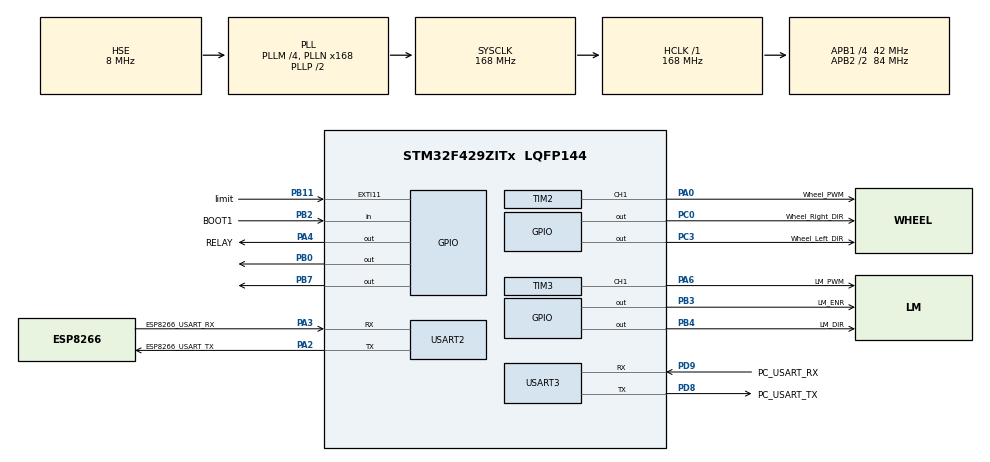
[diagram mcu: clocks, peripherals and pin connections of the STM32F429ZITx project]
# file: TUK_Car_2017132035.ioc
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Mcu.Family=STM32F4
Mcu.Name=STM32F429ZITx
Mcu.Package=LQFP144
NVIC.EXTI15_10_IRQn=true\:0\:0\:false\:false\:true\:true\:true
NVIC.PriorityGroup=NVIC_PRIORITYGROUP_4
NVIC.TIM3_IRQn=true\:0\:0\:false\:false\:true\:true\:true
NVIC.TIM6_DAC_IRQn=true\:0\:0\:false\:false\:true\:true\:true
NVIC.USART2_IRQn=true\:0\:0\:false\:false\:true\:true\:true
NVIC.USART3_IRQn=true\:0\:0\:false\:false\:true\:true\:true
PA0/WKUP.GPIO_Label=Wheel_PWM
PA0/WKUP.Signal=S_TIM2_CH1_ETR
PA13.Mode=Serial_Wire
PA13.Signal=SYS_JTMS-SWDIO
PA14.Mode=Serial_Wire
PA14.Signal=SYS_JTCK-SWCLK
PA2.GPIO_Label=ESP8266_USART_TX
PA2.Mode=Asynchronous
PA2.Signal=USART2_TX
PA3.GPIO_Label=ESP8266_USART_RX
PA3.Mode=Asynchronous
PA3.Signal=USART2_RX
PA4.GPIO_Label=RELAY
PA4.GPIO_Speed=GPIO_SPEED_FREQ_VERY_HIGH
PA4.PinState=GPIO_PIN_SET
PA4.Signal=GPIO_Output
PA6.GPIO_Label=LM_PWM
PA6.Signal=S_TIM3_CH1
PB0.GPIO_Speed=GPIO_SPEED_FREQ_VERY_HIGH
PB0.Signal=GPIO_Output
PB11.GPIO_Label=limit
PB11.Signal=GPXTI11
PB2/BOOT1.GPIO_Label=BOOT1
PB2/BOOT1.Signal=GPIO_Input
PB3.GPIO_Label=LM_ENR
PB3.GPIO_Speed=GPIO_SPEED_FREQ_VERY_HIGH
PB3.Signal=GPIO_Output
PB4.GPIO_Label=LM_DIR
PB4.GPIO_Speed=GPIO_SPEED_FREQ_VERY_HIGH
PB4.Signal=GPIO_Output
PB7.Signal=GPIO_Output
PC0.GPIO_Label=Wheel_Right_DIR
PC0.Signal=GPIO_Output
PC3.GPIO_Label=Wheel_Left_DIR
PC3.Signal=GPIO_Output
PD8.GPIO_Label=PC_USART_TX
PD8.Mode=Asynchronous
PD8.Signal=USART3_TX
PD9.GPIO_Label=PC_USART_RX
PD9.Mode=Asynchronous
PD9.Signal=USART3_RX
PH0/OSC_IN.Mode=HSE-External-Clock-Source
PH0/OSC_IN.Signal=RCC_OSC_IN
PH1/OSC_OUT.Mode=HSE-External-Clock-Source
PH1/OSC_OUT.Signal=RCC_OSC_OUT
ProjectManager.HeapSize=0x200
ProjectManager.StackSize=0x400
ProjectManager.TargetToolchain=STM32CubeIDE
RCC.48MHZClocksFreq_Value=84000000
RCC.AHBFreq_Value=168000000
RCC.APB1CLKDivider=RCC_HCLK_DIV4
RCC.APB1Freq_Value=42000000
RCC.APB1TimFreq_Value=84000000
RCC.APB2CLKDivider=RCC_HCLK_DIV2
RCC.APB2Freq_Value=84000000
RCC.APB2TimFreq_Value=168000000
RCC.CortexFreq_Value=168000000
RCC.HCLKFreq_Value=168000000
RCC.HSE_VALUE=8000000
RCC.HSI_VALUE=16000000
RCC.LSE_VALUE=32768
RCC.PLLM=4
RCC.PLLN=168
RCC.PLLSourceVirtual=RCC_PLLSOURCE_HSE
RCC.SYSCLKFreq_VALUE=168000000
RCC.SYSCLKSource=RCC_SYSCLKSOURCE_PLLCLK
RCC.VCOOutputFreq_Value=336000000
SH.S_TIM2_CH1_ETR.0=TIM2_CH1,PWM Generation1 CH1
SH.S_TIM3_CH1.0=TIM3_CH1,PWM Generation1 CH1
TIM2.Channel-PWM\ Generation1\ CH1=TIM_CHANNEL_1
TIM2.Period=10000-1
TIM2.Prescaler=84-1
TIM2.Pulse-PWM\ Generation1\ CH1=5000
TIM3.Channel-PWM\ Generation1\ CH1=TIM_CHANNEL_1
TIM3.Period=250-1
TIM3.Prescaler=84-1
TIM3.Pulse-PWM\ Generation1\ CH1=125-1
TIM6.Period=10-1
TIM6.Prescaler=8400-1
USART2.VirtualMode=VM_ASYNC
USART3.VirtualMode=VM_ASYNC
VP_TIM2_VS_ClockSourceINT.Mode=Internal
VP_TIM3_VS_ClockSourceINT.Mode=Internal
VP_TIM6_VS_ClockSourceINT.Mode=Enable_Timer
board=custom

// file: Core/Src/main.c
/* USER CODE BEGIN Header */
/**
 ******************************************************************************
 * @file           : main.c
 * @brief          : Main program body
 ******************************************************************************
 * @attention
 *
 * Copyright (c) 2022 STMicroelectronics.
 * All rights reserved.
 *
 * This software is licensed under terms that can be found in the LICENSE file
 * in the root directory of this software component.
 * If no LICENSE file comes with this software, it is provided AS-IS.
 *
 ******************************************************************************
 */

/*

Major : Mechatronics Engineering
Author: In-Hwan Jeong( 정인환 )
Reference : https://controllerstech.com/의 ESP8266_HAL.c, UartRingbuffer_multi.c

*/

/* USER CODE END Header */
#include "main.h"

/* USER CODE BEGIN Includes */
#include "ESP8266_HAL.h"
#include "UartRingbuffer_multi.h"
/* USER CODE END Includes */

/* USER CODE BEGIN PD */
#define LM_ENA_Yes 0
#define LM_ENA_No 1
#define Wheel_Right_Go 1
#define Wheel_Right_Back 0
#define Wheel_Left_Go 1
#define Wheel_Left_Back 0
#define Car_Go 1
#define Car_Back 0
#define Lockeroncall 1
#define Lockeron 2
#define Lockeroffcall 3
#define Lockeroff 4
#define Relay_ON 1
#define Relay_OFF 2
#define wifi_uart &huart2
#define pc_uart &huart3

#define LM_extra 20 //mm
#define LM_extra2 10//mm

#define duty 3000
/* USER CODE END PD */

TIM_HandleTypeDef htim2;
TIM_HandleTypeDef htim3;
TIM_HandleTypeDef htim6;

UART_HandleTypeDef huart2;
UART_HandleTypeDef huart3;

/* USER CODE BEGIN PV */
int i=0;
unsigned int LM_Guide_Step=0; // pwm on time
unsigned int Limit_Cnt=0;
unsigned int LM_Position=0; // (motor) 0mm ~ (max) 320mm
unsigned char Locker_Move_Flag=0;
unsigned char Locker_Flag[2][4]={0};
unsigned char Locker[2][4]={0};
unsigned char Locker_Floor=0;
unsigned char Elevator_Floor=0;
unsigned char Limit_Flag=0;
int Car_Time=1;
int Locker_Distance[2][4]={{2643,3786,2643,3786},{2643,3786,2643,3786}};
/* USER CODE END PV */

void SystemClock_Config(void);
static void MX_GPIO_Init(void);
static void MX_TIM2_Init(void);
static void MX_TIM3_Init(void);
static void MX_USART3_UART_Init(void);
static void MX_TIM6_Init(void);
static void MX_USART2_UART_Init(void);

/* USER CODE BEGIN 0 */

void LM_Guide_ENA(int ena);
void LM_Guide_DIR(int dir);
void LM_Guide_Move(int LM_Position_Goal,int Magnet);
void Wheel_DIR(int dir);
void TUK_Locker_Car_Move(int Car_Move_Delay,int Speed, int Car_DIR);
void TUK_Locker_Car_Move_Delay(int Car_Move_Delay,int Speed, int Car_DIR,int Car_Stop);
void Elevator(int floor);

/* USER CODE END 0 */

int main(void)
{

	/* MCU Configuration--------------------------------------------------------*/

	/* Reset of all peripherals, Initializes the Flash interface and the Systick. */
	HAL_Init();

	/* Configure the system clock */
	SystemClock_Config();

	/* Initialize all configured peripherals */
	MX_GPIO_Init();
	MX_TIM2_Init();
	MX_TIM3_Init();
	MX_USART3_UART_Init();
	MX_TIM6_Init();
	MX_USART2_UART_Init();
	/* USER CODE BEGIN 2 */
	HAL_TIM_Base_Start_IT(&htim6);

	ESP_Init("CIR_Wireless","cir123456!");
	HAL_GPIO_WritePin(RELAY_GPIO_Port, RELAY_Pin, 0);

	/* USER CODE END 2 */

	/* Infinite loop */
	/* USER CODE BEGIN WHILE */

	while (1)
	{
		Server_Start();
		if(Locker_Move_Flag >4)
		{
			Locker_Floor = 1;
		}
		else
		{
			Locker_Floor = 0;
		}

		if(Locker_Move_Flag>=1)
		{
			if( Locker_Move_Flag == 1 || Locker_Move_Flag == 2 || Locker_Move_Flag == 5  || Locker_Move_Flag == 6 )//
			{

				if(Locker_Flag[Locker_Floor][(Locker_Move_Flag-1)%4]==Lockeroncall)
				{
					if(Locker[Locker_Floor][(Locker_Move_Flag-1)%4]==0)
					{
						if(Locker_Floor==1 && Elevator_Floor==0)
						{
							Elevator(2);
							Elevator_Floor=1;
						}
						LM_Guide_Move(LM_extra,0);
						TUK_Locker_Car_Move_Delay(Locker_Distance[Locker_Floor][(Locker_Move_Flag-1)%4],duty,Car_Go,3800);
						LM_Guide_Move(320,Relay_ON);
						HAL_Delay(500);
						LM_Guide_Move(LM_extra,0);
						TUK_Locker_Car_Move_Delay(Locker_Distance[Locker_Floor][(Locker_Move_Flag-1)%4],duty,Car_Back,3800);

						Locker[Locker_Floor][(Locker_Move_Flag-1)%4]=1;
					}
					Locker_Flag[Locker_Floor][(Locker_Move_Flag-1)%4]=0;

					if(Elevator_Floor==1)
					{
						Elevator(1);
						Elevator_Floor=0;
					}
				}
				else if(Locker_Flag[Locker_Floor][(Locker_Move_Flag-1)%4]==Lockeron)
				{
					if(Locker[Locker_Floor][(Locker_Move_Flag-1)%4]==1)
					{
						if(Locker_Floor==1 && Elevator_Floor==0)
						{
							Elevator(2);
							Elevator_Floor=1;
						}
						TUK_Locker_Car_Move_Delay(Locker_Distance[Locker_Floor][(Locker_Move_Flag-1)%4],duty,Car_Go,3800);
						LM_Guide_Move(320-LM_extra2,Relay_OFF);
						LM_Guide_Move(LM_extra,0);
						TUK_Locker_Car_Move_Delay(Locker_Distance[Locker_Floor][(Locker_Move_Flag-1)%4],duty,Car_Back,3800);
						LM_Guide_Move(0,0);

						Locker[Locker_Floor][(Locker_Move_Flag-1)%4]=2;
					}
					Locker_Flag[Locker_Floor][(Locker_Move_Flag-1)%4]=0;

					if(Elevator_Floor==1)
					{
						Elevator(1);
						Elevator_Floor=0;
					}

				}
				else if(Locker_Flag[Locker_Floor][(Locker_Move_Flag-1)%4]==Lockeroffcall)
				{
					if(Locker[Locker_Floor][(Locker_Move_Flag-1)%4]==2)
					{
						if(Locker_Floor==1 && Elevator_Floor==0)
						{
							Elevator(2);
							Elevator_Floor=1;
						}
						LM_Guide_Move(LM_extra,0);
						TUK_Locker_Car_Move_Delay(Locker_Distance[Locker_Floor][(Locker_Move_Flag-1)%4],duty,Car_Go,3800);
						LM_Guide_Move(320,Relay_ON);
						HAL_Delay(500);
						LM_Guide_Move(LM_extra,0);
						TUK_Locker_Car_Move_Delay(Locker_Distance[Locker_Floor][(Locker_Move_Flag-1)%4],duty,Car_Back,3800);

						Locker[Locker_Floor][(Locker_Move_Flag-1)%4]=3;
					}
					Locker_Flag[Locker_Floor][(Locker_Move_Flag-1)%4]=0;

					if(Elevator_Floor==1)
					{
						Elevator(1);
						Elevator_Floor=0;
					}
				}
				else if(Locker_Flag[Locker_Floor][(Locker_Move_Flag-1)%4]==Lockeroff)
				{
					if(Locker[Locker_Floor][(Locker_Move_Flag-1)%4]==3)
					{
						if(Locker_Floor==1 && Elevator_Floor==0)
						{
							Elevator(2);
							Elevator_Floor=1;
						}
						TUK_Locker_Car_Move_Delay(Locker_Distance[Locker_Floor][(Locker_Move_Flag-1)%4],duty,Car_Go,3800);
						LM_Guide_Move(320-LM_extra2,Relay_OFF);
						LM_Guide_Move(LM_extra,0);
						TUK_Locker_Car_Move_Delay(Locker_Distance[Locker_Floor][(Locker_Move_Flag-1)%4],duty,Car_Back,3800);
						LM_Guide_Move(0,0);

						Locker[Locker_Floor][(Locker_Move_Flag-1)%4]=0;
					}
					Locker_Flag[Locker_Floor][(Locker_Move_Flag-1)%4]=0;

					if(Elevator_Floor==1)
					{
						Elevator(1);
						Elevator_Floor=0;
					}

				}

				Locker_Move_Flag=0;
			}
			else if( Locker_Move_Flag == 3 || Locker_Move_Flag == 4 || Locker_Move_Flag == 7  || Locker_Move_Flag == 8)//
			{

				if(Locker_Flag[Locker_Floor][(Locker_Move_Flag-1)%4]==Lockeroncall)
				{
					if(Locker[Locker_Floor][(Locker_Move_Flag-1)%4]==0)
					{
						if(Locker_Floor==1 && Elevator_Floor==0)
						{
							Elevator(2);
							Elevator_Floor=1;
						}
						LM_Guide_Move(LM_extra,0);
						TUK_Locker_Car_Move_Delay(Locker_Distance[Locker_Floor][(Locker_Move_Flag-1)%4],duty,Car_Go,3800);
						HAL_GPIO_WritePin(RELAY_GPIO_Port, RELAY_Pin, 1);
						LM_Guide_Move(0,0);
						HAL_Delay(500);
						LM_Guide_Move(320-LM_extra,0);
						TUK_Locker_Car_Move_Delay(Locker_Distance[Locker_Floor][(Locker_Move_Flag-1)%4],duty,Car_Back,3800);

						Locker[Locker_Floor][(Locker_Move_Flag-1)%4]=1;
					}
					Locker_Flag[Locker_Floor][(Locker_Move_Flag-1)%4]=0;

					if(Elevator_Floor==1)
					{
						Elevator(1);
						Elevator_Floor=0;
					}
				}
				else if(Locker_Flag[Locker_Floor][(Locker_Move_Flag-1)%4]==Lockeron)
				{
					if(Locker[Locker_Floor][(Locker_Move_Flag-1)%4]==1)
					{
						if(Locker_Floor==1 && Elevator_Floor==0)
						{
							Elevator(2);
							Elevator_Floor=1;
						}
						TUK_Locker_Car_Move_Delay(Locker_Distance[Locker_Floor][(Locker_Move_Flag-1)%4],duty,Car_Go,3800);
						LM_Guide_Move(LM_extra2,Relay_OFF);
						LM_Guide_Move(LM_extra,0);
						TUK_Locker_Car_Move_Delay(Locker_Distance[Locker_Floor][(Locker_Move_Flag-1)%4],duty,Car_Back,3800);
						LM_Guide_Move(0,0);

						Locker[Locker_Floor][(Locker_Move_Flag-1)%4]=2;
					}
					Locker_Flag[Locker_Floor][(Locker_Move_Flag-1)%4]=0;

					if(Elevator_Floor==1)
					{
						Elevator(1);
						Elevator_Floor=0;
					}

				}
				else if(Locker_Flag[Locker_Floor][(Locker_Move_Flag-1)%4]==Lockeroffcall)
				{
					if(Locker[Locker_Floor][(Locker_Move_Flag-1)%4]==2)
					{
						if(Locker_Floor==1 && Elevator_Floor==0)
						{
							Elevator(2);
							Elevator_Floor=1;
						}
						LM_Guide_Move(LM_extra,0);
						TUK_Locker_Car_Move_Delay(Locker_Distance[Locker_Floor][(Locker_Move_Flag-1)%4],duty,Car_Go,3800);
						HAL_GPIO_WritePin(RELAY_GPIO_Port, RELAY_Pin, 1);
						LM_Guide_Move(0,0);
						HAL_Delay(500);
						LM_Guide_Move(320-LM_extra,0);
						TUK_Locker_Car_Move_Delay(Locker_Distance[Locker_Floor][(Locker_Move_Flag-1)%4],duty,Car_Back,3800);

						Locker[Locker_Floor][(Locker_Move_Flag-1)%4]=3;
					}
					Locker_Flag[Locker_Floor][(Locker_Move_Flag-1)%4]=0;

					if(Elevator_Floor==1)
					{
						Elevator(1);
						Elevator_Floor=0;
					}
				}
				else if(Locker_Flag[Locker_Floor][(Locker_Move_Flag-1)%4]==Lockeroff)
				{
					if(Locker[Locker_Floor][(Locker_Move_Flag-1)%4]==3)
					{
						if(Locker_Floor==1 && Elevator_Floor==0)
						{
							Elevator(2);
							Elevator_Floor=1;
						}
						TUK_Locker_Car_Move_Delay(Locker_Distance[Locker_Floor][(Locker_Move_Flag-1)%4],duty,Car_Go,3800);
						LM_Guide_Move(LM_extra2,Relay_OFF);
						LM_Guide_Move(LM_extra,0);
						TUK_Locker_Car_Move_Delay(Locker_Distance[Locker_Floor][(Locker_Move_Flag-1)%4],duty,Car_Back,3800);
						LM_Guide_Move(0,0);

						Locker[Locker_Floor][(Locker_Move_Flag-1)%4]=0;
					}
					Locker_Flag[Locker_Floor][(Locker_Move_Flag-1)%4]=0;

					if(Elevator_Floor==1)
					{
						Elevator(1);
						Elevator_Floor=0;
					}
				}

				Locker_Move_Flag=0;
			}
		}

	}
	/* USER CODE END WHILE */

}

void SystemClock_Config(void)
{
	RCC_OscInitTypeDef RCC_OscInitStruct = {0};
	RCC_ClkInitTypeDef RCC_ClkInitStruct = {0};

	/** Configure the main internal regulator output voltage
	 */
	__HAL_RCC_PWR_CLK_ENABLE();
	__HAL_PWR_VOLTAGESCALING_CONFIG(PWR_REGULATOR_VOLTAGE_SCALE1);
	/** Initializes the RCC Oscillators according to the specified parameters
	 * in the RCC_OscInitTypeDef structure.
	 */
	RCC_OscInitStruct.OscillatorType = RCC_OSCILLATORTYPE_HSE;
	RCC_OscInitStruct.HSEState = RCC_HSE_BYPASS;
	RCC_OscInitStruct.PLL.PLLState = RCC_PLL_ON;
	RCC_OscInitStruct.PLL.PLLSource = RCC_PLLSOURCE_HSE;
	RCC_OscInitStruct.PLL.PLLM = 4;
	RCC_OscInitStruct.PLL.PLLN = 168;
	RCC_OscInitStruct.PLL.PLLP = RCC_PLLP_DIV2;
	RCC_OscInitStruct.PLL.PLLQ = 4;
	if (HAL_RCC_OscConfig(&RCC_OscInitStruct) != HAL_OK)
	{
		Error_Handler();
	}
	/** Initializes the CPU, AHB and APB buses clocks
	 */
	RCC_ClkInitStruct.ClockType = RCC_CLOCKTYPE_HCLK|RCC_CLOCKTYPE_SYSCLK
			|RCC_CLOCKTYPE_PCLK1|RCC_CLOCKTYPE_PCLK2;
	RCC_ClkInitStruct.SYSCLKSource = RCC_SYSCLKSOURCE_PLLCLK;
	RCC_ClkInitStruct.AHBCLKDivider = RCC_SYSCLK_DIV1;
	RCC_ClkInitStruct.APB1CLKDivider = RCC_HCLK_DIV4;
	RCC_ClkInitStruct.APB2CLKDivider = RCC_HCLK_DIV2;

	if (HAL_RCC_ClockConfig(&RCC_ClkInitStruct, FLASH_LATENCY_5) != HAL_OK)
	{
		Error_Handler();
	}
}

static void MX_TIM2_Init(void)
{

	TIM_ClockConfigTypeDef sClockSourceConfig = {0};
	TIM_MasterConfigTypeDef sMasterConfig = {0};
	TIM_OC_InitTypeDef sConfigOC = {0};

	htim2.Instance = TIM2;
	htim2.Init.Prescaler = 84-1;
	htim2.Init.CounterMode = TIM_COUNTERMODE_UP;
	htim2.Init.Period = 10000-1;
	htim2.Init.ClockDivision = TIM_CLOCKDIVISION_DIV1;
	htim2.Init.AutoReloadPreload = TIM_AUTORELOAD_PRELOAD_DISABLE;
	if (HAL_TIM_Base_Init(&htim2) != HAL_OK)
	{
		Error_Handler();
	}
	sClockSourceConfig.ClockSource = TIM_CLOCKSOURCE_INTERNAL;
	if (HAL_TIM_ConfigClockSource(&htim2, &sClockSourceConfig) != HAL_OK)
	{
		Error_Handler();
	}
	if (HAL_TIM_PWM_Init(&htim2) != HAL_OK)
	{
		Error_Handler();
	}
	sMasterConfig.MasterOutputTrigger = TIM_TRGO_RESET;
	sMasterConfig.MasterSlaveMode = TIM_MASTERSLAVEMODE_DISABLE;
	if (HAL_TIMEx_MasterConfigSynchronization(&htim2, &sMasterConfig) != HAL_OK)
	{
		Error_Handler();
	}
	sConfigOC.OCMode = TIM_OCMODE_PWM1;
	sConfigOC.Pulse = 5000;
	sConfigOC.OCPolarity = TIM_OCPOLARITY_HIGH;
	sConfigOC.OCFastMode = TIM_OCFAST_DISABLE;
	if (HAL_TIM_PWM_ConfigChannel(&htim2, &sConfigOC, TIM_CHANNEL_1) != HAL_OK)
	{
		Error_Handler();
	}
	HAL_TIM_MspPostInit(&htim2);

}

static void MX_TIM3_Init(void)
{

	TIM_ClockConfigTypeDef sClockSourceConfig = {0};
	TIM_MasterConfigTypeDef sMasterConfig = {0};
	TIM_OC_InitTypeDef sConfigOC = {0};

	htim3.Instance = TIM3;
	htim3.Init.Prescaler = 84-1;
	htim3.Init.CounterMode = TIM_COUNTERMODE_UP;
	htim3.Init.Period = 250-1;
	htim3.Init.ClockDivision = TIM_CLOCKDIVISION_DIV1;
	htim3.Init.AutoReloadPreload = TIM_AUTORELOAD_PRELOAD_DISABLE;
	if (HAL_TIM_Base_Init(&htim3) != HAL_OK)
	{
		Error_Handler();
	}
	sClockSourceConfig.ClockSource = TIM_CLOCKSOURCE_INTERNAL;
	if (HAL_TIM_ConfigClockSource(&htim3, &sClockSourceConfig) != HAL_OK)
	{
		Error_Handler();
	}
	if (HAL_TIM_PWM_Init(&htim3) != HAL_OK)
	{
		Error_Handler();
	}
	sMasterConfig.MasterOutputTrigger = TIM_TRGO_RESET;
	sMasterConfig.MasterSlaveMode = TIM_MASTERSLAVEMODE_DISABLE;
	if (HAL_TIMEx_MasterConfigSynchronization(&htim3, &sMasterConfig) != HAL_OK)
	{
		Error_Handler();
	}
	sConfigOC.OCMode = TIM_OCMODE_PWM1;
	sConfigOC.Pulse = 125-1;
	sConfigOC.OCPolarity = TIM_OCPOLARITY_HIGH;
	sConfigOC.OCFastMode = TIM_OCFAST_DISABLE;
	if (HAL_TIM_PWM_ConfigChannel(&htim3, &sConfigOC, TIM_CHANNEL_1) != HAL_OK)
	{
		Error_Handler();
	}
	HAL_TIM_MspPostInit(&htim3);

}

static void MX_TIM6_Init(void)
{

	TIM_MasterConfigTypeDef sMasterConfig = {0};

	htim6.Instance = TIM6;
	htim6.Init.Prescaler = 8400-1;
	htim6.Init.CounterMode = TIM_COUNTERMODE_UP;
	htim6.Init.Period = 10-1;
	htim6.Init.AutoReloadPreload = TIM_AUTORELOAD_PRELOAD_DISABLE;
	if (HAL_TIM_Base_Init(&htim6) != HAL_OK)
	{
		Error_Handler();
	}
	sMasterConfig.MasterOutputTrigger = TIM_TRGO_RESET;
	sMasterConfig.MasterSlaveMode = TIM_MASTERSLAVEMODE_DISABLE;
	if (HAL_TIMEx_MasterConfigSynchronization(&htim6, &sMasterConfig) != HAL_OK)
	{
		Error_Handler();
	}

}

static void MX_USART2_UART_Init(void)
{

	huart2.Instance = USART2;
	huart2.Init.BaudRate = 115200;
	huart2.Init.WordLength = UART_WORDLENGTH_8B;
	huart2.Init.StopBits = UART_STOPBITS_1;
	huart2.Init.Parity = UART_PARITY_NONE;
	huart2.Init.Mode = UART_MODE_TX_RX;
	huart2.Init.HwFlowCtl = UART_HWCONTROL_NONE;
	huart2.Init.OverSampling = UART_OVERSAMPLING_16;
	if (HAL_UART_Init(&huart2) != HAL_OK)
	{
		Error_Handler();
	}

}

static void MX_USART3_UART_Init(void)
{

	huart3.Instance = USART3;
	huart3.Init.BaudRate = 115200;
	huart3.Init.WordLength = UART_WORDLENGTH_8B;
	huart3.Init.StopBits = UART_STOPBITS_1;
	huart3.Init.Parity = UART_PARITY_NONE;
	huart3.Init.Mode = UART_MODE_TX_RX;
	huart3.Init.HwFlowCtl = UART_HWCONTROL_NONE;
	huart3.Init.OverSampling = UART_OVERSAMPLING_16;
	if (HAL_UART_Init(&huart3) != HAL_OK)
	{
		Error_Handler();
	}

}

static void MX_GPIO_Init(void)
{
	GPIO_InitTypeDef GPIO_InitStruct = {0};

	/* GPIO Ports Clock Enable */
	__HAL_RCC_GPIOH_CLK_ENABLE();
	__HAL_RCC_GPIOC_CLK_ENABLE();
	__HAL_RCC_GPIOA_CLK_ENABLE();
	__HAL_RCC_GPIOB_CLK_ENABLE();
	__HAL_RCC_GPIOD_CLK_ENABLE();

	/*Configure GPIO pin Output Level */
	HAL_GPIO_WritePin(GPIOC, Wheel_Right_DIR_Pin|Wheel_Left_DIR_Pin, GPIO_PIN_RESET);

	/*Configure GPIO pin Output Level */
	HAL_GPIO_WritePin(RELAY_GPIO_Port, RELAY_Pin, GPIO_PIN_SET);

	/*Configure GPIO pin Output Level */
	HAL_GPIO_WritePin(GPIOB, GPIO_PIN_0|LM_ENR_Pin|LM_DIR_Pin|GPIO_PIN_7, GPIO_PIN_RESET);

	/*Configure GPIO pins : Wheel_Right_DIR_Pin Wheel_Left_DIR_Pin */
	GPIO_InitStruct.Pin = Wheel_Right_DIR_Pin|Wheel_Left_DIR_Pin;
	GPIO_InitStruct.Mode = GPIO_MODE_OUTPUT_PP;
	GPIO_InitStruct.Pull = GPIO_NOPULL;
	GPIO_InitStruct.Speed = GPIO_SPEED_FREQ_LOW;
	HAL_GPIO_Init(GPIOC, &GPIO_InitStruct);

	/*Configure GPIO pin : RELAY_Pin */
	GPIO_InitStruct.Pin = RELAY_Pin;
	GPIO_InitStruct.Mode = GPIO_MODE_OUTPUT_PP;
	GPIO_InitStruct.Pull = GPIO_NOPULL;
	GPIO_InitStruct.Speed = GPIO_SPEED_FREQ_VERY_HIGH;
	HAL_GPIO_Init(RELAY_GPIO_Port, &GPIO_InitStruct);

	/*Configure GPIO pins : PB0 LM_ENR_Pin LM_DIR_Pin */
	GPIO_InitStruct.Pin = GPIO_PIN_0|LM_ENR_Pin|LM_DIR_Pin;
	GPIO_InitStruct.Mode = GPIO_MODE_OUTPUT_PP;
	GPIO_InitStruct.Pull = GPIO_NOPULL;
	GPIO_InitStruct.Speed = GPIO_SPEED_FREQ_VERY_HIGH;
	HAL_GPIO_Init(GPIOB, &GPIO_InitStruct);

	/*Configure GPIO pin : BOOT1_Pin */
	GPIO_InitStruct.Pin = BOOT1_Pin;
	GPIO_InitStruct.Mode = GPIO_MODE_INPUT;
	GPIO_InitStruct.Pull = GPIO_NOPULL;
	HAL_GPIO_Init(BOOT1_GPIO_Port, &GPIO_InitStruct);

	/*Configure GPIO pin : limit_Pin */
	GPIO_InitStruct.Pin = limit_Pin;
	GPIO_InitStruct.Mode = GPIO_MODE_IT_RISING;
	GPIO_InitStruct.Pull = GPIO_NOPULL;
	HAL_GPIO_Init(limit_GPIO_Port, &GPIO_InitStruct);

	/*Configure GPIO pin : PB7 */
	GPIO_InitStruct.Pin = GPIO_PIN_7;
	GPIO_InitStruct.Mode = GPIO_MODE_OUTPUT_PP;
	GPIO_InitStruct.Pull = GPIO_NOPULL;
	GPIO_InitStruct.Speed = GPIO_SPEED_FREQ_LOW;
	HAL_GPIO_Init(GPIOB, &GPIO_InitStruct);

	/* EXTI interrupt init*/
	HAL_NVIC_SetPriority(EXTI15_10_IRQn, 0, 0);
	HAL_NVIC_EnableIRQ(EXTI15_10_IRQn);

}

/* USER CODE BEGIN 4 */
void HAL_GPIO_EXTI_Callback(uint16_t GPIO_Pin)
{
	if(GPIO_Pin==limit_Pin)
	{
		if(Limit_Cnt==0)
			HAL_TIM_PWM_Stop(&htim2, TIM_CHANNEL_1);
		HAL_GPIO_TogglePin(GPIOB, GPIO_PIN_0 | GPIO_PIN_7);
	}
}
void LM_Guide_ENA(int ena)
{
	if(ena)
		HAL_GPIO_WritePin(LM_ENR_GPIO_Port, LM_ENR_Pin, LM_ENA_Yes);
	else if(ena==0)
		HAL_GPIO_WritePin(LM_ENR_GPIO_Port, LM_ENR_Pin, LM_ENA_No);
}

void LM_Guide_DIR(int dir)
{
	if(dir)
		HAL_GPIO_WritePin(LM_DIR_GPIO_Port, LM_DIR_Pin, GPIO_PIN_SET);
	else if(dir == 0)
		HAL_GPIO_WritePin(LM_DIR_GPIO_Port, LM_DIR_Pin, GPIO_PIN_RESET);
}

void LM_Guide_Move(int LM_Position_Goal,int Magnet)
{
	int dir;
	int distance_to_move;

	distance_to_move = LM_Position_Goal - LM_Position;
	if(LM_Position_Goal >= 320)
		LM_Position_Goal = 320;
	if(LM_Position_Goal <= 0)
		LM_Position_Goal = 0;

	LM_Position += distance_to_move;
	if(distance_to_move>0)
		dir=1;
	else
	{
		dir=0;
		distance_to_move *= -1;
	}

	LM_Guide_ENA(1);
	LM_Guide_DIR(dir);
	TIM3->CCR1 = 125;
	LM_Guide_Step = 8500 * distance_to_move / 320;

	HAL_TIM_PWM_Start_IT(&htim3, TIM_CHANNEL_1);

	if(Magnet==Relay_ON)
	{
		HAL_Delay( (LM_Guide_Step/4) - 500 );
		HAL_GPIO_WritePin(RELAY_GPIO_Port, RELAY_Pin, 1);
		HAL_Delay(1500);
	}
	else if(Magnet==Relay_OFF)
	{
		HAL_Delay( (LM_Guide_Step/4) );
		HAL_GPIO_WritePin(RELAY_GPIO_Port, RELAY_Pin, 0);
		HAL_Delay(2000);
	}
	else
	{
		HAL_Delay( (LM_Guide_Step/4) );
	}
}

void Wheel_DIR(int dir)
{
	if(dir)
	{
		HAL_GPIO_WritePin(Wheel_Right_DIR_GPIO_Port, Wheel_Right_DIR_Pin, Wheel_Right_Go);
		HAL_GPIO_WritePin(Wheel_Left_DIR_GPIO_Port, Wheel_Left_DIR_Pin, Wheel_Left_Go);
	}
	else if(dir==0)
	{
		HAL_GPIO_WritePin(Wheel_Right_DIR_GPIO_Port, Wheel_Right_DIR_Pin, Wheel_Right_Back);
		HAL_GPIO_WritePin(Wheel_Left_DIR_GPIO_Port, Wheel_Left_DIR_Pin, Wheel_Left_Back);
	}
}

void TUK_Locker_Car_Move(int Car_Move_Delay,int Speed, int Car_DIR)
{
	Wheel_DIR(Car_DIR);

	if(Speed<0)
		Speed=0;
	if(Speed>9999)
		Speed=9999;
	TIM2->CCR1 = Speed;

	HAL_TIM_PWM_Start(&htim2, TIM_CHANNEL_1);
	Car_Time=Car_Move_Delay;
	HAL_TIM_Base_Start_IT(&htim6);

}
void TUK_Locker_Car_Move_Delay(int Car_Move_Delay,int Speed, int Car_DIR,int Car_Stop)
{
	Wheel_DIR(Car_DIR);

	if(Speed<0)
		Speed=0;
	if(Speed>9999)
		Speed=9999;
	TIM2->CCR1 = Speed;

	HAL_TIM_PWM_Start(&htim2, TIM_CHANNEL_1);
	Limit_Cnt=1000;
	if( Locker_Move_Flag == 2 || Locker_Move_Flag == 4  || Locker_Move_Flag == 6  || Locker_Move_Flag == 8 )
	{
		Limit_Cnt=2500;

	}
	Car_Time=Car_Move_Delay;
	HAL_TIM_Base_Start_IT(&htim6);
	HAL_Delay(Car_Stop);
}

void HAL_TIM_PeriodElapsedCallback(TIM_HandleTypeDef *htim)
{

	if(htim->Instance==TIM6)
	{
		if(Car_Time>0)
		{
			Car_Time--;
			if(Limit_Cnt>0)
				Limit_Cnt--;
		}
		else if(Car_Time<=0)
		{
			LM_Guide_ENA(0);
			HAL_TIM_PWM_Stop(&htim2, TIM_CHANNEL_1);
			HAL_TIM_Base_Stop_IT(&htim6);

		}

	}

}
void HAL_TIM_PWM_PulseFinishedCallback(TIM_HandleTypeDef *htim)
{
	if(htim->Instance==TIM3)
	{
		if(LM_Guide_Step>0)
		{
			LM_Guide_Step--;
		}
		else if(LM_Guide_Step<=0)
		{
			HAL_TIM_PWM_Stop_IT(&htim3, TIM_CHANNEL_1);
		}

	}
}

void Elevator(int floor)
{
	// 192.168.0.224 is TUK_Elevator's IP
	if(floor==1)
	{
		Uart_sendstring("AT+CIPSTART=1,\"TCP\",\"192.168.0.224\",80\r\n",wifi_uart);
		while (!(Wait_for("OK\r\n",wifi_uart)));
		Uart_sendstring("CIPSTART 192.168.0.224 OK\n\n", pc_uart);

		Uart_sendstring("AT+CIPSEND=1,5\r\n",wifi_uart);
		while (!(Wait_for(">", wifi_uart)));

		Uart_sendstring ("11111", wifi_uart);
		while (!(Wait_for("SEND OK", wifi_uart)));

		Uart_sendstring("AT+CIPCLOSE=1\r\n", wifi_uart);
		while (!(Wait_for("OK\r\n", wifi_uart)));
		Uart_sendstring("1\r\n", pc_uart);
		if((Wait_for("11111", wifi_uart)))
		{
			HAL_GPIO_TogglePin(GPIOB, GPIO_PIN_0 | GPIO_PIN_7);
			Uart_flush (wifi_uart);
		}
	}
	else if(floor==2)
	{
		Uart_sendstring("AT+CIPSTART=1,\"TCP\",\"192.168.0.224\",80\r\n",wifi_uart);
		while (!(Wait_for("OK\r\n",wifi_uart)));
		Uart_sendstring("CIPSTART 192.168.0.224 OK\n\n", pc_uart);

		Uart_sendstring("AT+CIPSEND=1,5\r\n",wifi_uart);
		while (!(Wait_for(">", wifi_uart)));

		Uart_sendstring ("22222", wifi_uart);
		while (!(Wait_for("SEND OK", wifi_uart)));

		Uart_sendstring("AT+CIPCLOSE=1\r\n", wifi_uart);
		while (!(Wait_for("OK\r\n", wifi_uart)));
		Uart_sendstring("2\r\n", pc_uart);
		if((Wait_for("22222", wifi_uart)))
		{
			HAL_GPIO_TogglePin(GPIOB, GPIO_PIN_0 | GPIO_PIN_7);
			Uart_flush (wifi_uart);
		}
	}

}

/* USER CODE END 4 */

void Error_Handler(void)
{
	__disable_irq();
	while (1)
	{
	}
}
